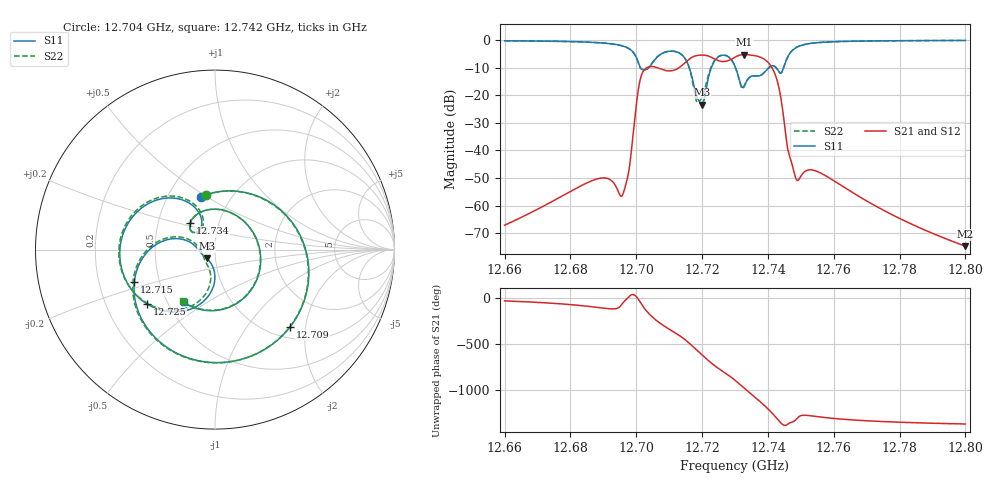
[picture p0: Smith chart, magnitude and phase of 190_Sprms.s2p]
! TOUCHSTONE file generated by CST MICROWAVE STUDIO
! Date and time: Wed Jul 31 20:31:17 2024
! Project name: WaveGuide_BPF-Ver4.1_U-shape_Ku_T3_C4_CWA_2.cst
! Parameters = {cavity_h=16; cavity_l0=10; cavity_l1=15.231; cavity_l2=16.8605; cavity_l3=17.1357; cavity_l4=17.2757; cavity_l5=17.1419; cavity_l6=17.6338; cavity_r=2.5; cavity_screw_l=0.5; cavity_screw_r=1.5; cavity_w=8; iris_h00=0; iris_h01=8.8313; iris_h112=0; iris_h12=5.6051; iris_h211=3.6661; i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
! Header version: 2018
! Port assignment regex: !\s*Touchstone port\s*([0-9]+)\s*=\s*(CST MWS port|CST DS port)\s*([0-9]+|Zmin|Zmax)\s*\(\"(.*)\"\)(\s*mode\s*([0-9]+))?.*
! Touchstone port assignment:
! Touchstone port 1 = CST MWS port 1 ("")
! Touchstone port 2 = CST MWS port 2 ("")
# GHz S RI R 50
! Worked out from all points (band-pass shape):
!   5001 points, 12.66 GHz to 12.8 GHz, reference 50 ohm
!   highest |S21| = -5.25 dB at 12.733 GHz (marker M1); lowest = -74.7 dB at 12.8 GHz (marker M2)
!   |S21| within 3 dB of the highest: 12.71479 GHz to 12.74016 GHz (25.38 MHz wide, 0.199 % of centre)
!   lowest |S11| = -23.5 dB at 12.72 GHz (marker M3), VSWR 1.14, Z = 45.4 - j4.44 ohm
!   |S11| at or under -10 dB: 12.70126 GHz to 12.70383 GHz (2.575 MHz wide, 0.0203 % of centre); 12.71611 GHz to 12.72281 GHz (6.696 MHz wide, 0.0526 % of centre); 12.73016 GHz to 12.74027 GHz (10.1 MHz wide, 0.0793 % of centre) (the widest 3 of 4)
!   |S22| runs from -22.7 to -0.1 dB; largest |S21 - S12| = 1e-09
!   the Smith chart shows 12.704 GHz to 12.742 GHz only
!   S11 on the Smith chart (normalised r, x): 12.704 GHz: 0.73, +0.47; 12.709 GHz: 1.22, -1.64; 12.715 GHz: 0.36, -0.17; 12.725 GHz: 0.38, -0.31; 12.734 GHz: 0.73, +0.23; 12.742 GHz: 0.60, -0.40
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12.66  0.5132 0.827  0.000354 -0.00026  0.000354 -0.00026  0.5174 0.8243
12.68335  0.9179 0.1312  0.000101 -0.00229  0.000101 -0.00229  0.919 0.1182
12.69587  0.2418 -0.7443  0.000764 -0.00136  0.000764 -0.00136  0.2135 -0.7496
12.69968  -0.4024 -0.3516  0.0419 0.016  0.0419 0.016  -0.4188 -0.3226
12.70357  -0.077 0.2954  -0.3099 -0.0926  -0.3099 -0.0926  -0.0502 0.3052
12.70668  0.511 -0.0226  -0.0332 0.3089  -0.0332 0.3089  0.5135 -0.0484
12.70864  0.4179 -0.4315  0.1905 0.21  0.1905 0.21  0.4006 -0.4504
12.7146  -0.4497 -0.1815  -0.000804 -0.378  -0.000804 -0.378  -0.454 -0.1595
12.71754  -0.1412 0.0423  -0.5071 0.0216  -0.5071 0.0216  -0.1198 0.0416
12.71998  -0.0463 -0.0487  -0.076 0.5299  -0.076 0.5299  -0.0462 -0.0784
12.72236  -0.0378 -0.2599  0.4599 0.2005  0.4599 0.2005  -0.0735 -0.2723
12.72474  -0.3774 -0.3037  0.3181 -0.2877  0.3181 -0.2877  -0.4042 -0.2815
12.73  -0.1857 0.2782  -0.4887 -0.0343  -0.4887 -0.0343  -0.1716 0.2849
12.73286  -0.1169 0.0957  -0.0582 0.5435  -0.0582 0.5435  -0.1142 0.0915
12.73412  -0.1379 0.1485  0.287 0.4584  0.287 0.4584  -0.1385 0.1458
12.73837  0.2396 0.0366  0.1512 -0.4453  0.1512 -0.4453  0.2384 0.0357
12.74184  -0.1732 -0.293  -0.26 0.0647  -0.26 0.0647  -0.1788 -0.286
12.74462  0.139 0.2633  0.0225 0.0411  0.0225 0.0411  0.1577 0.2561
12.74837  0.3324 -0.6375  -0.00125 0.003  -0.00125 0.003  0.3161 -0.6498
12.75335  -0.3547 -0.8013  -0.00407 0.00172  -0.00407 0.00172  -0.3693 -0.7962
12.77668  -0.9714 0.0117  -4.38e-05 0.000732  -4.38e-05 0.000732  -0.9716 0.0194
12.8  -0.9058 0.3866  6.35e-05 0.000172  6.35e-05 0.000172  -0.9038 0.3916
